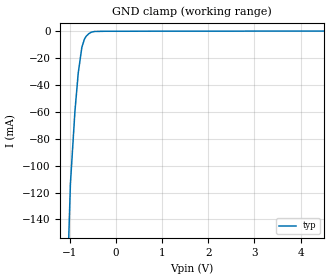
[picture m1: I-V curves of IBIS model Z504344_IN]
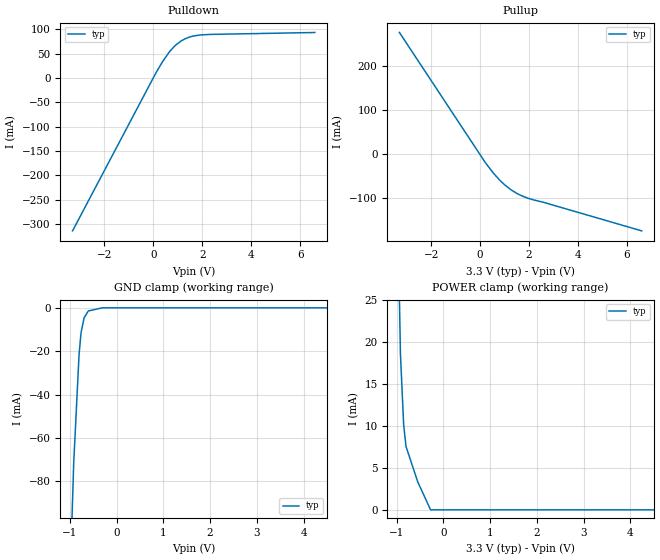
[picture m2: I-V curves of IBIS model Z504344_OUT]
| YOU ARE ONLY AUTHORIZED TO USE THIS SOFTWARE
| ACCORDING TO LICENSOR'S LICENSE RESTRICTIONS.
[IBIS Ver] 3.1
[File Name] mc74lcx32d.ibs
[File Rev] 2.0
[Source] Measured and created by ICX Technology
[Date] Friday 7/14/00 9:08:12 AM
[Copyright]
| (C) COPYRIGHT 1993-2000
| MENTOR GRAPHICS CORPORATION
| ICX STANDARD LIBRARY, ICX PROJECT MODELING,
| ICX CUSTOM MODELING, ICX VENDOR MODEL
| ALL RIGHTS RESERVED.
| THE FOLLOWING ARE TRADEMARKS OR SERVICE MARKS OF
| MENTOR GRAPHICS CORPORATION:ICX (R), ICX STANDARD
| LIBRARY(R), ICX PROJECT MODELING(R), ICX CUSTOM
| MODELING(R), qualityIBIS(TM), MODELVIEWER(TM),
| AND MODELEDITOR(TM)
| ALL COPIES OF SOFTWARE, INCLUDING BUT NOT LIMITED TO
| ANY MODIFICATIONS, ENHANCEMENTS OR DERIVATIVE WORKS,
| MUST CONTAIN ALL MENTOR GRAPHICS CORPORATION'S
| NOTICES AND LEGENDS, INCLUDING THOSE EMBEDDED IN
| SOFTWARE AND THOSE AFFIXED TO SOFTWARE MEDIUM
| AND CONTAINER, AS RECEIVED FROM MENTOR GRAPHICS
| CORPORATION.
|  ZAP Model Builder 2.7
[Component] MC74LCX32D
[Manufacturer] OnSemiconductor
[Package]
| variable   typ   min   max
R_pkg  .155ohms NA NA
L_pkg  3.028nH NA NA
C_pkg  .381pF NA NA
[Pin] signal_name  model_name  R_pin  L_pin C_pin
1 A Z504344_IN .16 3.587n .407p
2 B Z504344_IN .156 3.147n .387p
3 Y Z504344_OUT .152 2.717n .367p
4 A Z504344_IN .148 2.297n .347p
5 B Z504344_IN .152 2.717n .367p
6 Y Z504344_OUT .156 3.147n .387p
7 GROUND GND .16 3.587n .407p
8 Y Z504344_OUT .16 3.587n .407p
9 A Z504344_IN .156 3.147n .387p
10 B Z504344_IN .152 2.717n .367p
11 Y Z504344_OUT .148 2.297n .347p
12 A Z504344_IN .152 2.717n .367p
13 B Z504344_IN .156 3.147n .387p
14 VCC POWER .16 3.587n .407p
| Models and submodels in the file (2): Z504344_IN (Input), Z504344_OUT (Output)
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| (C) COPYRIGHT 1993-2000
| MENTOR GRAPHICS CORPORATION
| ICX STANDARD LIBRARY, ICX PROJECT MODELING,
| ICX CUSTOM MODELING, ICX VENDOR MODEL
| ALL RIGHTS RESERVED.
| THE FOLLOWING ARE TRADEMARKS OR SERVICE MARKS OF
| MENTOR GRAPHICS CORPORATION:ICX (R), ICX STANDARD
| LIBRARY(R), ICX PROJECT MODELING(R), ICX CUSTOM
| MODELING(R), qualityIBIS(TM), MODELVIEWER(TM),
| AND MODELEDITOR(TM)
| ALL COPIES OF SOFTWARE, INCLUDING BUT NOT LIMITED TO
| ANY MODIFICATIONS, ENHANCEMENTS OR DERIVATIVE WORKS,
| MUST CONTAIN ALL MENTOR GRAPHICS CORPORATION'S
| NOTICES AND LEGENDS, INCLUDING THOSE EMBEDDED IN
| SOFTWARE AND THOSE AFFIXED TO SOFTWARE MEDIUM
| AND CONTAINER, AS RECEIVED FROM MENTOR GRAPHICS
| CORPORATION.
| Model Application Version 1.89 2/18/99.
[Model] Z504344_IN
Model_type Input
Vinl = 800.0mV
Vinh = 2.000V
C_comp 4.000pF NA NA
| variable typ   min   max
[Voltage Range] 3.300V NA NA
[GND Clamp Reference] 0.000V NA NA
[POWER Clamp Reference] 3.300V NA NA
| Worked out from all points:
|   GND clamp passes 1 mA (typ) near -0.55 V on its own axis
[GND Clamp]
-3.3V     -2.107A    NA         NA
-1.022V   -155.5mA   NA         NA
-984.7mV  -113.7mA   NA         NA
-886.3mV  -59.41mA   NA         NA
-815mV    -31.07mA   NA         NA
-738mV    -12.1mA    NA         NA
-682.2mV  -5.862mA   NA         NA
-644.2mV  -3.673mA   NA         NA
-531.6mV  -624.4uA   NA         NA
-234.2mV  93.46uA    NA         NA
6.6V      218uA      NA         NA
[POWER Clamp]
-3.3V     0A         NA         NA
6.6V      0A         NA         NA
| (C) COPYRIGHT 1993-2000
| MENTOR GRAPHICS CORPORATION
| ICX STANDARD LIBRARY, ICX PROJECT MODELING,
| ICX CUSTOM MODELING, ICX VENDOR MODEL
| ALL RIGHTS RESERVED.
| THE FOLLOWING ARE TRADEMARKS OR SERVICE MARKS OF
| MENTOR GRAPHICS CORPORATION:ICX (R), ICX STANDARD
| LIBRARY(R), ICX PROJECT MODELING(R), ICX CUSTOM
| MODELING(R), qualityIBIS(TM), MODELVIEWER(TM),
| AND MODELEDITOR(TM)
| ALL COPIES OF SOFTWARE, INCLUDING BUT NOT LIMITED TO
| ANY MODIFICATIONS, ENHANCEMENTS OR DERIVATIVE WORKS,
| MUST CONTAIN ALL MENTOR GRAPHICS CORPORATION'S
| NOTICES AND LEGENDS, INCLUDING THOSE EMBEDDED IN
| SOFTWARE AND THOSE AFFIXED TO SOFTWARE MEDIUM
| AND CONTAINER, AS RECEIVED FROM MENTOR GRAPHICS
| CORPORATION.
| Model Application Version 1.89 2/18/99.
[Model] Z504344_OUT
Model_type Output
Vref=0.000V
Rref=500.0ohms
Cref=50.00pF
Vmeas=1.500V
C_comp 8.000pF NA NA
| variable typ   min   max
[Voltage Range] 3.300V NA NA
[POWER Clamp Reference] 3.300V NA NA
[Pullup Reference] 3.300V NA NA
[Pulldown Reference] 0.000V NA NA
[GND Clamp Reference] 0.000V NA NA
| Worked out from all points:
|   slope of the pulldown table from 0 to 0.495 V, typ, clamps not added: 11.9 ohm
|   slope of the pullup table from 0 to 0.495 V, typ, clamps not added: 12.9 ohm
[GND Clamp]
-3.3V     -1.742A    NA         NA
-916.5mV  -71.69mA   NA         NA
-801.3mV  -21.37mA   NA         NA
-758.7mV  -11.39mA   NA         NA
-694.1mV  -4.649mA   NA         NA
-604.7mV  -1.47mA    NA         NA
-302.4mV  0A         NA         NA
6.6V      0A         NA         NA
[Pulldown]
-3.3V     -313.8mA   NA         NA
97.05mV   9.271mA    NA         NA
372.4mV   32.83mA    NA         NA
665.4mV   53.88mA    NA         NA
952.1mV   68.77mA    NA         NA
1.125V    75.35mA    NA         NA
1.453V    83.32mA    NA         NA
1.949V    88.07mA    NA         NA
6.6V      93.12mA    NA         NA
[Pullup]
-3.3V     276.3mA    NA         NA
215mV     -19.92mA   NA         NA
531mV     -42.89mA   NA         NA
791mV     -59.09mA   NA         NA
999mV     -70.01mA   NA         NA
1.269V    -81.72mA   NA         NA
1.5V      -89.66mA   NA         NA
1.675V    -94.56mA   NA         NA
1.946V    -100.5mA   NA         NA
2.181V    -104.4mA   NA         NA
2.577V    -109.7mA   NA         NA
6.6V      -174.8mA   NA         NA
[POWER Clamp]
-3.3V     717mA      NA         NA
-919mV    18.51mA    NA         NA
-851mV    10.17mA    NA         NA
-800mV    7.544mA    NA         NA
-549mV    3.329mA    NA         NA
-274.5mV  0A         NA         NA
6.6V      0A         NA         NA
[Ramp]
| variable typ min max
dV/dt_r 1.947/327.6p NA NA
dV/dt_f 1.947/729.6p NA NA
R_load = 500.0Ohms
